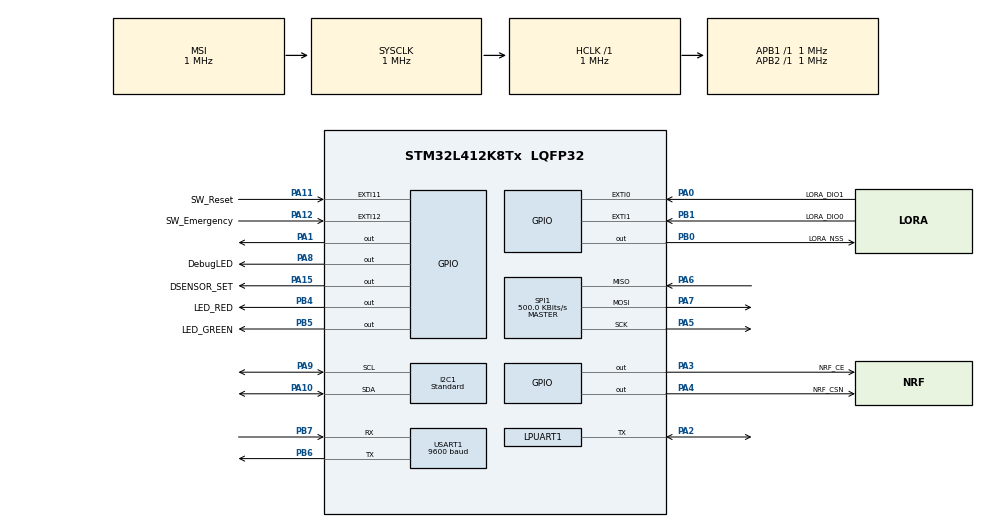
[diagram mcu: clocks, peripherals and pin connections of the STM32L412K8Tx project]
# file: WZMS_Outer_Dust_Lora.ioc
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I2C1.Analog_Filter=I2C_ANALOGFILTER_ENABLE
I2C1.I2C_Fall_Time=0
I2C1.I2C_Rise_Time=0
I2C1.I2C_Speed_Mode=I2C_Standard
I2C1.Timing=0x00000103
LPUART1.BaudRate=15625
LPUART1.WordLength=UART_WORDLENGTH_8B
Mcu.Family=STM32L4
Mcu.Name=STM32L412K8Tx
Mcu.Package=LQFP32
NVIC.EXTI0_IRQn=true\:0\:0\:false\:false\:true\:true\:true
NVIC.EXTI15_10_IRQn=true\:0\:0\:false\:false\:true\:true\:true
NVIC.EXTI1_IRQn=true\:0\:0\:false\:false\:true\:true\:true
NVIC.PriorityGroup=NVIC_PRIORITYGROUP_4
NVIC.RCC_IRQn=true\:0\:0\:false\:false\:true\:true\:false
NVIC.TIM1_UP_TIM16_IRQn=true\:0\:0\:false\:false\:true\:true\:true
NVIC.USART1_IRQn=true\:0\:0\:false\:false\:true\:true\:true
PA0-CK_IN.GPIO_Label=LORA_DIO1
PA0-CK_IN.Signal=GPXTI0
PA1.Signal=GPIO_Output
PA10.Mode=I2C
PA10.Signal=I2C1_SDA
PA11.GPIO_Label=SW_Reset
PA11.GPIO_PuPd=GPIO_PULLUP
PA11.Signal=GPXTI11
PA12.GPIO_Label=SW_Emergency
PA12.GPIO_PuPd=GPIO_PULLUP
PA12.Signal=GPXTI12
PA13\ (JTMS/SWDIO).Mode=Serial_Wire
PA13\ (JTMS/SWDIO).Signal=SYS_JTMS-SWDIO
PA14\ (JTCK/SWCLK).Mode=Serial_Wire
PA14\ (JTCK/SWCLK).Signal=SYS_JTCK-SWCLK
PA15\ (JTDI).GPIO_Label=DSENSOR_SET
PA15\ (JTDI).GPIO_ModeDefaultOutputPP=GPIO_MODE_OUTPUT_OD
PA15\ (JTDI).PinState=GPIO_PIN_RESET
PA15\ (JTDI).Signal=GPIO_Output
PA2.Mode=Half_duplex(single_wire_mode)
PA2.Signal=LPUART1_TX
PA3.GPIO_Label=NRF_CE
PA3.Signal=GPIO_Output
PA4.GPIO_Label=NRF_CSN
PA4.Signal=GPIO_Output
PA5.Mode=Full_Duplex_Master
PA5.Signal=SPI1_SCK
PA6.Mode=Full_Duplex_Master
PA6.Signal=SPI1_MISO
PA7.Mode=Full_Duplex_Master
PA7.Signal=SPI1_MOSI
PA8.GPIO_Label=DebugLED
PA8.Signal=GPIO_Output
PA9.Mode=I2C
PA9.Signal=I2C1_SCL
PB0.GPIO_Label=LORA_NSS
PB0.Signal=GPIO_Output
PB1.GPIO_Label=LORA_DIO0
PB1.Signal=GPXTI1
PB4\ (NJTRST).GPIO_Label=LED_RED
PB4\ (NJTRST).Signal=GPIO_Output
PB5.GPIO_Label=LED_GREEN
PB5.Signal=GPIO_Output
PB6.Mode=Asynchronous
PB6.Signal=USART1_TX
PB7.Mode=Asynchronous
PB7.Signal=USART1_RX
ProjectManager.HeapSize=0x1000
ProjectManager.StackSize=0x1000
ProjectManager.TargetToolchain=Makefile
RCC.ADCFreq_Value=1000000
RCC.AHBFreq_Value=1000000
RCC.APB1Freq_Value=1000000
RCC.APB1TimFreq_Value=1000000
RCC.APB2Freq_Value=1000000
RCC.APB2TimFreq_Value=1000000
RCC.CortexFreq_Value=1000000
RCC.HCLKFreq_Value=1000000
RCC.HSE_VALUE=8000000
RCC.HSI48_VALUE=48000000
RCC.HSI_VALUE=16000000
RCC.LSE_VALUE=32768
RCC.MSIClockRange=RCC_MSIRANGE_4
RCC.MSI_VALUE=1000000
RCC.SYSCLKFreq_VALUE=1000000
RCC.USBFreq_Value=1000000
RCC.VCOOutputFreq_Value=8000000
SPI1.CalculateBaudRate=500.0 KBits/s
SPI1.DataSize=SPI_DATASIZE_8BIT
SPI1.Direction=SPI_DIRECTION_2LINES
SPI1.Mode=SPI_MODE_MASTER
SPI1.NSSPMode=SPI_NSS_PULSE_ENABLE
SPI1.VirtualType=VM_MASTER
TIM16.ClockDivision=TIM_CLOCKDIVISION_DIV4
TIM16.Period=25-1
TIM16.Prescaler=80-1
TIM16.RepetitionCounter=25-1
USART1.BaudRate=9600
USART1.Mode=MODE_TX_RX
USART1.VirtualMode-Asynchronous=VM_ASYNC
VP_TIM16_VS_ClockSourceINT.Mode=Enable_Timer
board=custom

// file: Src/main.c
/* USER CODE BEGIN Header */
/**
  ******************************************************************************
  * @file           : main.c
  * @brief          : Main program body
  ******************************************************************************
  * @attention
  *
  * <h2><center>&copy; Copyright (c) 2020 STMicroelectronics.
  * All rights reserved.</center></h2>
  *
  * This software component is licensed by ST under BSD 3-Clause license,
  * the "License"; You may not use this file except in compliance with the
  * License. You may obtain a copy of the License at:
  *                        opensource.org/licenses/BSD-3-Clause
  *
  ******************************************************************************
  */
/* USER CODE END Header */

#include "main.h"

/* USER CODE BEGIN Includes */
#include "userardu.h"
#include "lmic.h"
#include "userardu.h"
#include "RFInterface.h"
#include "giuart.h"
#include "NRF/nrf24.h"
#include "WZMSBase.h"
#include "WZMSCore.h"
/* USER CODE END Includes */

/* USER CODE BEGIN PD */
extern GPIO_Pin Unused_Pin;
#define SW_SERIAL_UNUSED_PIN Unused_Pin
/* USER CODE END PD */

I2C_HandleTypeDef hi2c1;

UART_HandleTypeDef hlpuart1;
UART_HandleTypeDef huart1;

SPI_HandleTypeDef hspi1;

TIM_HandleTypeDef htim16;

void SystemClock_Config(void);
static void MX_GPIO_Init(void);
static void MX_SPI1_Init(void);
static void MX_USART1_UART_Init(void);
static void MX_I2C1_Init(void);
static void MX_LPUART1_UART_Init(void);
static void MX_TIM16_Init(void);
/* USER CODE BEGIN PFP */
extern volatile void BtnINT();
extern char uart_getTM(uint32_t timeout);
extern char uart_get(void);
extern void uart_set(char ch);
void snm2DevEUI(char* snm);
/* USER CODE END PFP */

/* USER CODE BEGIN 0 */

extern u1_t APPEUI[8];
void __attribute__((const)) error_Handler(const char* const file, const uint16_t line){
	xprintf("Assertion detected!!\r\nlocale : %s:%d\r\n",file,line);
  digitalWrite(byte2GPIO_Pin(0xB4),1);
  digitalWrite(byte2GPIO_Pin(0xB5),0);
}
void HAL_TIM_PeriodElapsedCallback(TIM_HandleTypeDef *htim)
{
  if(htim->Instance == TIM16)WZMS_LEDLoop();
}
uint8_t UARTRcvBuf[128];
uint8_t UARTRcvData[2] = {0,};
uint16_t UART_avail;
void HAL_UART_RxCpltCallback(UART_HandleTypeDef *huart)
{
  if(huart->Instance == SensorUart->Instance)
  {
    UARTRcvBuf[UART_avail++] = UARTRcvData[0];
    if(UART_avail>=127)UART_avail=0;
    // print("%d ",UART_avail);
    HAL_UART_Receive_IT(SensorUart,UARTRcvData,1);
  }
}
// void HAL_UART_RxCpltCallback(UART_HandleTypeDef *huart)
// {
//   if(huart->Instance == SensorUart->Instance)
//   {
//     HAL_UART_Receive_IT(SensorUart,UARTRcvBuf+UART_avail+1,1);
//     if(UART_avail++>=127)UART_avail=0;
//     // print("%d ",UART_avail);
//   }
// }
/* USER CODE END 0 */

int main(void)
{

  /* MCU Configuration--------------------------------------------------------*/

  /* Reset of all peripherals, Initializes the Flash interface and the Systick. */
  HAL_Init();

  /* Configure the system clock */
  SystemClock_Config();

  /* Initialize all configured peripherals */
  MX_GPIO_Init();
  MX_SPI1_Init();
  MX_USART1_UART_Init();
  MX_I2C1_Init();
  MX_LPUART1_UART_Init();
  MX_TIM16_Init();
  /* USER CODE BEGIN 2 */
//HAL_TIM_Base_Start_IT(&htim15);    // <-----------  change to your setup
  HAL_TIM_Base_Start_IT(&htim16);    // <-----------  change to your setup
  __HAL_SPI_ENABLE(&hspi1);            // <-----------  change to your setup
  SensorUart = &huart1;

  // HAL_UART_Receive_IT(SensorUart, UARTRcvBuf, 1);
  HAL_UART_Receive_IT(SensorUart, UARTRcvBuf, 1);

  //UART_init(uart_get,uart_set,uart_getTM);

  Serial = &hlpuart1;
  debug_init();
  println("Hello World!!");
  for(int i=0;i<10;i++){
    Port_uartprocessing();
    delay(500);
  }
  // while(1){
  //   // Port_uartprocessing();

  //   println("@%d",uart_available());
  //   while(uart_available()){
  //     uint8_t ch = UART_readBuf();
  //     println("#%d %02X",uart_available(),ch);
  //   }
	//   // println("avail : %d",uart_available());
  //   delay(100);
  // }

  // HAL_UART_Receive(SensorUart, Data, 1, 10000);
  // println("Data = %c %d", Data[0], Data[0]);

  // while(!len){println("len = %d", len);HAL_Delay(1000);}
  // println("len = %d", len);
  // for(int i=0;i<len;i++){
  //   println("Data[%d] = 0x%02X %c", i, Data[i], Data[i]);
  // }
  // PrintMemoryMap(0, Data, len, 16);

  // exit(1);
  hal_set_failure_handler(error_Handler);

  println("Init End.!!");
  //println("nrf24_init!!");

  extern GPIO_Pin debugled;//PB7
  //led = byte2GPIO_Pin(0xB7);
  debugled = byte2GPIO_Pin(0xA8);

  //Start = 1;
  //blink = WZMS_millis();

	//ResetCutline = 10;

	//CType = "lora";

  println("RFInit!!");
  println("APPKEY = %s",printBin(NwkCode,16));

  //RFsend();

	WZMS_Init();//WZMS Initialize

  //GPIO_Pin dio = byte2GPIO_Pin(0xA0);
  //attachInterrupt(digitalPinToInterrupt(dio),BtnINT,FALLING);
  //Pinpullstate(GPIOA,GPIO_PIN_0,GPIO_PULLUP);
  /* USER CODE END 2 */

  /* Infinite loop */
  while (1)
  {

    /* USER CODE BEGIN 3 */
    //println("RFloop");
    WZMSLoop();//WZMS Loop
	  os_runloop_once();
  }
  /* USER CODE END 3 */
}

void SystemClock_Config(void)
{
  RCC_OscInitTypeDef RCC_OscInitStruct = {0};
  RCC_ClkInitTypeDef RCC_ClkInitStruct = {0};
  RCC_PeriphCLKInitTypeDef PeriphClkInit = {0};

  /** Configure the main internal regulator output voltage
  */
  if (HAL_PWREx_ControlVoltageScaling(PWR_REGULATOR_VOLTAGE_SCALE1) != HAL_OK)
  {
    Error_Handler();
  }
  /** Initializes the CPU, AHB and APB busses clocks
  */
  RCC_OscInitStruct.OscillatorType = RCC_OSCILLATORTYPE_MSI;
  RCC_OscInitStruct.MSIState = RCC_MSI_ON;
  RCC_OscInitStruct.MSICalibrationValue = 0;
  RCC_OscInitStruct.MSIClockRange = RCC_MSIRANGE_4;
  RCC_OscInitStruct.PLL.PLLState = RCC_PLL_NONE;
  if (HAL_RCC_OscConfig(&RCC_OscInitStruct) != HAL_OK)
  {
    Error_Handler();
  }
  /** Initializes the CPU, AHB and APB busses clocks
  */
  RCC_ClkInitStruct.ClockType = RCC_CLOCKTYPE_HCLK|RCC_CLOCKTYPE_SYSCLK
                              |RCC_CLOCKTYPE_PCLK1|RCC_CLOCKTYPE_PCLK2;
  RCC_ClkInitStruct.SYSCLKSource = RCC_SYSCLKSOURCE_MSI;
  RCC_ClkInitStruct.AHBCLKDivider = RCC_SYSCLK_DIV1;
  RCC_ClkInitStruct.APB1CLKDivider = RCC_HCLK_DIV1;
  RCC_ClkInitStruct.APB2CLKDivider = RCC_HCLK_DIV1;

  if (HAL_RCC_ClockConfig(&RCC_ClkInitStruct, FLASH_LATENCY_0) != HAL_OK)
  {
    Error_Handler();
  }
  PeriphClkInit.PeriphClockSelection = RCC_PERIPHCLK_USART1|RCC_PERIPHCLK_LPUART1
                              |RCC_PERIPHCLK_I2C1;
  PeriphClkInit.Usart1ClockSelection = RCC_USART1CLKSOURCE_PCLK2;
  PeriphClkInit.Lpuart1ClockSelection = RCC_LPUART1CLKSOURCE_PCLK1;
  PeriphClkInit.I2c1ClockSelection = RCC_I2C1CLKSOURCE_PCLK1;
  if (HAL_RCCEx_PeriphCLKConfig(&PeriphClkInit) != HAL_OK)
  {
    Error_Handler();
  }
}

static void MX_I2C1_Init(void)
{

  hi2c1.Instance = I2C1;
  hi2c1.Init.Timing = 0x00000103;
  hi2c1.Init.OwnAddress1 = 0;
  hi2c1.Init.AddressingMode = I2C_ADDRESSINGMODE_7BIT;
  hi2c1.Init.DualAddressMode = I2C_DUALADDRESS_DISABLE;
  hi2c1.Init.OwnAddress2 = 0;
  hi2c1.Init.OwnAddress2Masks = I2C_OA2_NOMASK;
  hi2c1.Init.GeneralCallMode = I2C_GENERALCALL_DISABLE;
  hi2c1.Init.NoStretchMode = I2C_NOSTRETCH_DISABLE;
  if (HAL_I2C_Init(&hi2c1) != HAL_OK)
  {
    Error_Handler();
  }
  /** Configure Analogue filter
  */
  if (HAL_I2CEx_ConfigAnalogFilter(&hi2c1, I2C_ANALOGFILTER_ENABLE) != HAL_OK)
  {
    Error_Handler();
  }
  /** Configure Digital filter
  */
  if (HAL_I2CEx_ConfigDigitalFilter(&hi2c1, 0) != HAL_OK)
  {
    Error_Handler();
  }

}

static void MX_LPUART1_UART_Init(void)
{

  hlpuart1.Instance = LPUART1;
  hlpuart1.Init.BaudRate = 15625;
  hlpuart1.Init.WordLength = UART_WORDLENGTH_8B;
  hlpuart1.Init.StopBits = UART_STOPBITS_1;
  hlpuart1.Init.Parity = UART_PARITY_NONE;
  hlpuart1.Init.Mode = UART_MODE_TX_RX;
  hlpuart1.Init.HwFlowCtl = UART_HWCONTROL_NONE;
  hlpuart1.Init.OneBitSampling = UART_ONE_BIT_SAMPLE_DISABLE;
  hlpuart1.AdvancedInit.AdvFeatureInit = UART_ADVFEATURE_NO_INIT;
  if (HAL_HalfDuplex_Init(&hlpuart1) != HAL_OK)
  {
    Error_Handler();
  }

}

static void MX_USART1_UART_Init(void)
{

  huart1.Instance = USART1;
  huart1.Init.BaudRate = 9600;
  huart1.Init.WordLength = UART_WORDLENGTH_8B;
  huart1.Init.StopBits = UART_STOPBITS_1;
  huart1.Init.Parity = UART_PARITY_NONE;
  huart1.Init.Mode = UART_MODE_TX_RX;
  huart1.Init.HwFlowCtl = UART_HWCONTROL_NONE;
  huart1.Init.OverSampling = UART_OVERSAMPLING_16;
  huart1.Init.OneBitSampling = UART_ONE_BIT_SAMPLE_DISABLE;
  huart1.AdvancedInit.AdvFeatureInit = UART_ADVFEATURE_NO_INIT;
  if (HAL_UART_Init(&huart1) != HAL_OK)
  {
    Error_Handler();
  }

}

static void MX_SPI1_Init(void)
{

  /* SPI1 parameter configuration*/
  hspi1.Instance = SPI1;
  hspi1.Init.Mode = SPI_MODE_MASTER;
  hspi1.Init.Direction = SPI_DIRECTION_2LINES;
  hspi1.Init.DataSize = SPI_DATASIZE_8BIT;
  hspi1.Init.CLKPolarity = SPI_POLARITY_LOW;
  hspi1.Init.CLKPhase = SPI_PHASE_1EDGE;
  hspi1.Init.NSS = SPI_NSS_SOFT;
  hspi1.Init.BaudRatePrescaler = SPI_BAUDRATEPRESCALER_2;
  hspi1.Init.FirstBit = SPI_FIRSTBIT_MSB;
  hspi1.Init.TIMode = SPI_TIMODE_DISABLE;
  hspi1.Init.CRCCalculation = SPI_CRCCALCULATION_DISABLE;
  hspi1.Init.CRCPolynomial = 7;
  hspi1.Init.CRCLength = SPI_CRC_LENGTH_DATASIZE;
  hspi1.Init.NSSPMode = SPI_NSS_PULSE_ENABLE;
  if (HAL_SPI_Init(&hspi1) != HAL_OK)
  {
    Error_Handler();
  }

}

static void MX_TIM16_Init(void)
{

  htim16.Instance = TIM16;
  htim16.Init.Prescaler = 80-1;
  htim16.Init.CounterMode = TIM_COUNTERMODE_UP;
  htim16.Init.Period = 25-1;
  htim16.Init.ClockDivision = TIM_CLOCKDIVISION_DIV4;
  htim16.Init.RepetitionCounter = 25-1;
  htim16.Init.AutoReloadPreload = TIM_AUTORELOAD_PRELOAD_DISABLE;
  if (HAL_TIM_Base_Init(&htim16) != HAL_OK)
  {
    Error_Handler();
  }

}

static void MX_GPIO_Init(void)
{
  GPIO_InitTypeDef GPIO_InitStruct = {0};

  /* GPIO Ports Clock Enable */
  __HAL_RCC_GPIOA_CLK_ENABLE();
  __HAL_RCC_GPIOB_CLK_ENABLE();

  /*Configure GPIO pin Output Level */
  HAL_GPIO_WritePin(GPIOA, GPIO_PIN_1|NRF_CE_Pin|NRF_CSN_Pin|DebugLED_Pin
                          |DSENSOR_SET_Pin, GPIO_PIN_RESET);

  /*Configure GPIO pin Output Level */
  HAL_GPIO_WritePin(GPIOB, LORA_NSS_Pin|LED_RED_Pin|LED_GREEN_Pin, GPIO_PIN_RESET);

  /*Configure GPIO pin : LORA_DIO1_Pin */
  GPIO_InitStruct.Pin = LORA_DIO1_Pin;
  GPIO_InitStruct.Mode = GPIO_MODE_IT_RISING;
  GPIO_InitStruct.Pull = GPIO_NOPULL;
  HAL_GPIO_Init(LORA_DIO1_GPIO_Port, &GPIO_InitStruct);

  /*Configure GPIO pins : PA1 NRF_CE_Pin NRF_CSN_Pin DebugLED_Pin */
  GPIO_InitStruct.Pin = GPIO_PIN_1|NRF_CE_Pin|NRF_CSN_Pin|DebugLED_Pin;
  GPIO_InitStruct.Mode = GPIO_MODE_OUTPUT_PP;
  GPIO_InitStruct.Pull = GPIO_NOPULL;
  GPIO_InitStruct.Speed = GPIO_SPEED_FREQ_LOW;
  HAL_GPIO_Init(GPIOA, &GPIO_InitStruct);

  /*Configure GPIO pins : LORA_NSS_Pin LED_RED_Pin LED_GREEN_Pin */
  GPIO_InitStruct.Pin = LORA_NSS_Pin|LED_RED_Pin|LED_GREEN_Pin;
  GPIO_InitStruct.Mode = GPIO_MODE_OUTPUT_PP;
  GPIO_InitStruct.Pull = GPIO_NOPULL;
  GPIO_InitStruct.Speed = GPIO_SPEED_FREQ_LOW;
  HAL_GPIO_Init(GPIOB, &GPIO_InitStruct);

  /*Configure GPIO pin : LORA_DIO0_Pin */
  GPIO_InitStruct.Pin = LORA_DIO0_Pin;
  GPIO_InitStruct.Mode = GPIO_MODE_IT_RISING;
  GPIO_InitStruct.Pull = GPIO_NOPULL;
  HAL_GPIO_Init(LORA_DIO0_GPIO_Port, &GPIO_InitStruct);

  /*Configure GPIO pins : SW_Reset_Pin SW_Emergency_Pin */
  GPIO_InitStruct.Pin = SW_Reset_Pin|SW_Emergency_Pin;
  GPIO_InitStruct.Mode = GPIO_MODE_IT_RISING;
  GPIO_InitStruct.Pull = GPIO_PULLUP;
  HAL_GPIO_Init(GPIOA, &GPIO_InitStruct);

  /*Configure GPIO pin : DSENSOR_SET_Pin */
  GPIO_InitStruct.Pin = DSENSOR_SET_Pin;
  GPIO_InitStruct.Mode = GPIO_MODE_OUTPUT_OD;
  GPIO_InitStruct.Pull = GPIO_NOPULL;
  GPIO_InitStruct.Speed = GPIO_SPEED_FREQ_LOW;
  HAL_GPIO_Init(DSENSOR_SET_GPIO_Port, &GPIO_InitStruct);

  /* EXTI interrupt init*/
  HAL_NVIC_SetPriority(EXTI0_IRQn, 0, 0);
  HAL_NVIC_EnableIRQ(EXTI0_IRQn);

  HAL_NVIC_SetPriority(EXTI1_IRQn, 0, 0);
  HAL_NVIC_EnableIRQ(EXTI1_IRQn);

  HAL_NVIC_SetPriority(EXTI15_10_IRQn, 0, 0);
  HAL_NVIC_EnableIRQ(EXTI15_10_IRQn);

}

void Error_Handler(void)
{
}

/************************ (C) COPYRIGHT STMicroelectronics *****END OF FILE****/
